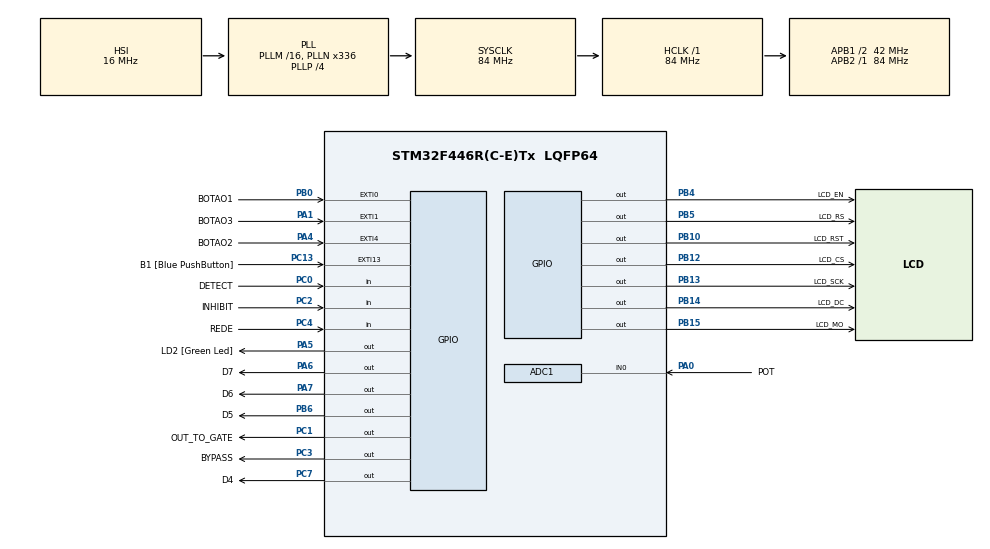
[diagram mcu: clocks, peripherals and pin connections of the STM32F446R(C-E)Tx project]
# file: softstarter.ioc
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ADC1.Channel-0\#ChannelRegularConversion=ADC_CHANNEL_0
ADC1.NbrOfConversionFlag=1
ADC1.Rank-0\#ChannelRegularConversion=1
ADC1.SamplingTime-0\#ChannelRegularConversion=ADC_SAMPLETIME_3CYCLES
ADC1.master=1
Mcu.Family=STM32F4
Mcu.Name=STM32F446R(C-E)Tx
Mcu.Package=LQFP64
NVIC.ADC_IRQn=true\:1\:0\:true\:false\:true\:true\:true
NVIC.EXTI0_IRQn=true\:1\:0\:true\:false\:true\:true\:true
NVIC.EXTI1_IRQn=true\:1\:0\:true\:false\:true\:true\:true
NVIC.EXTI4_IRQn=true\:1\:0\:true\:false\:true\:true\:true
NVIC.PriorityGroup=NVIC_PRIORITYGROUP_2
NVIC.TIM2_IRQn=true\:1\:0\:true\:false\:true\:true\:true
NVIC.TIM3_IRQn=true\:2\:0\:true\:false\:true\:true\:true
PA0-WKUP.GPIO_Label=POT
PA0-WKUP.Signal=ADCx_IN0
PA1.GPIO_Label=BOTAO3
PA1.GPIO_PuPd=GPIO_PULLDOWN
PA1.Signal=GPXTI1
PA13.GPIO_Label=TMS
PA13.Signal=SYS_JTMS-SWDIO
PA14.GPIO_Label=TCK
PA14.Signal=SYS_JTCK-SWCLK
PA2.GPIO_Label=USART_TX
PA2.Signal=USART2_TX
PA3.GPIO_Label=USART_RX
PA3.Signal=USART2_RX
PA4.GPIO_Label=BOTAO2
PA4.GPIO_PuPd=GPIO_PULLDOWN
PA4.Signal=GPXTI4
PA5.GPIO_Label=LD2 [Green Led]
PA5.Signal=GPIO_Output
PA6.GPIO_Label=D7
PA6.Signal=GPIO_Output
PA7.GPIO_Label=D6
PA7.Signal=GPIO_Output
PB0.GPIO_Label=BOTAO1
PB0.GPIO_PuPd=GPIO_PULLDOWN
PB0.Signal=GPXTI0
PB10.GPIO_Label=LCD_RST
PB10.Signal=GPIO_Output
PB12.GPIO_Label=LCD_CS
PB12.Signal=GPIO_Output
PB13.GPIO_Label=LCD_SCK
PB13.Signal=GPIO_Output
PB14.GPIO_Label=LCD_DC
PB14.Signal=GPIO_Output
PB15.GPIO_Label=LCD_MO
PB15.Signal=GPIO_Output
PB3.GPIO_Label=SWO
PB3.Signal=SYS_JTDO-SWO
PB4.GPIO_Label=LCD_EN
PB4.Signal=GPIO_Output
PB5.GPIO_Label=LCD_RS
PB5.Signal=GPIO_Output
PB6.GPIO_Label=D5
PB6.Signal=GPIO_Output
PC0.GPIO_Label=DETECT
PC0.GPIO_PuPd=GPIO_PULLDOWN
PC0.Signal=GPIO_Input
PC1.GPIO_Label=OUT_TO_GATE
PC1.GPIO_PuPd=GPIO_PULLDOWN
PC1.Signal=GPIO_Output
PC13.GPIO_Label=B1 [Blue PushButton]
PC13.GPIO_ModeDefaultEXTI=GPIO_MODE_IT_FALLING
PC13.Signal=GPXTI13
PC14-OSC32_IN.Signal=RCC_OSC32_IN
PC15-OSC32_OUT.Signal=RCC_OSC32_OUT
PC2.GPIO_Label=INHIBIT
PC2.GPIO_PuPd=GPIO_NOPULL
PC2.Signal=GPIO_Input
PC3.GPIO_Label=BYPASS
PC3.Signal=GPIO_Output
PC4.GPIO_Label=REDE
PC4.GPIO_PuPd=GPIO_PULLUP
PC4.Signal=GPIO_Input
PC7.GPIO_Label=D4
PC7.Signal=GPIO_Output
PH0-OSC_IN.Signal=RCC_OSC_IN
PH1-OSC_OUT.Signal=RCC_OSC_OUT
ProjectManager.HeapSize=0x200
ProjectManager.StackSize=0x400
ProjectManager.TargetToolchain=STM32CubeIDE
RCC.AHBFreq_Value=84000000
RCC.APB1CLKDivider=RCC_HCLK_DIV2
RCC.APB1Freq_Value=42000000
RCC.APB1TimFreq_Value=84000000
RCC.APB2Freq_Value=84000000
RCC.APB2TimFreq_Value=84000000
RCC.CortexFreq_Value=84000000
RCC.FLatency-AdvancedSettings=FLASH_LATENCY_2
RCC.HCLKFreq_Value=84000000
RCC.HSE_VALUE=8000000
RCC.HSI_VALUE=16000000
RCC.LSE_VALUE=32768
RCC.PLLN=336
RCC.PLLP=RCC_PLLP_DIV4
RCC.SYSCLKFreq_VALUE=84000000
RCC.SYSCLKSource=RCC_SYSCLKSOURCE_PLLCLK
RCC.USBFreq_Value=168000000
RCC.VCOOutputFreq_Value=336000000
SH.ADCx_IN0.0=ADC1_IN0,IN0
TIM2.Period=99
TIM2.Prescaler=6
TIM3.Period=999
TIM3.Prescaler=8399
VP_TIM2_VS_ClockSourceINT.Mode=Internal
VP_TIM3_VS_ClockSourceINT.Mode=Internal
board=NUCLEO-F446RE

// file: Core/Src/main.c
/* USER CODE BEGIN Header */
/**
  ******************************************************************************
  * @file           : main.c
  * @brief          : Programa feito para controlar o projeto de Softstarter. Com ele é possível variar
  * 				o tempo de descida e subida de 5 a 50 segundos. O projeto também possui o sistema de
  * 				proteção contra sobrecorrente e queda de luz.
  *
  ******************************************************************************
  */
/* USER CODE END Header */
#include "main.h"

/* USER CODE BEGIN Includes */
#include "lcd.h"
/* USER CODE END Includes */

ADC_HandleTypeDef hadc1;

TIM_HandleTypeDef htim2;
TIM_HandleTypeDef htim3;

/* USER CODE BEGIN PV */
 uint16_t conta=0, grau=1000, estado=0, Tace=10, Tdes=10, flag10=0, queda=0, quedaTemp=0, SELECT=0;
 uint16_t analog_value=0, variacao=0, c, contaCurto;
 _Bool REPIK=0, ACELERANDO=0, DESACELERANDO=0, VMAX=0, DESLIGADO=1, PINO=0, FLAG=1, QUEDA=1, INI=0, INItemp=0, REDES=0;

/* USER CODE END PV */

void SystemClock_Config(void);
static void MX_GPIO_Init(void);
static void MX_TIM3_Init(void);
static void MX_TIM2_Init(void);
static void MX_ADC1_Init(void);

int main(void)
{

  /* MCU Configuration--------------------------------------------------------*/

  /* Reset of all peripherals, Initializes the Flash interface and the Systick. */
  HAL_Init();

  /* Configure the system clock */
  SystemClock_Config();

  /* Initialize all configured peripherals */
  MX_GPIO_Init();
  MX_TIM3_Init();
  MX_TIM2_Init();
  MX_ADC1_Init();
  /* USER CODE BEGIN 2 */
  lcd_init();	// Inicia o LCD
  lcd_clear();	// Limpa o que está escrito
  /* USER CODE END 2 */

  /* Infinite loop */
  /* USER CODE BEGIN WHILE */
  while (1)
  {
	  INI = HAL_GPIO_ReadPin(INHIBIT_GPIO_Port, INHIBIT_Pin); //	Lê o pino de sobrecorrente
	  if(INI && VMAX){	// Se o motor já estiver em velocidade nominal e o circuito de sobrecorrente aciona
			HAL_GPIO_WritePin(BYPASS_GPIO_Port, BYPASS_Pin, 0); //	Desliga o bypass e reseta os parâmetros
			grau=1000;
			conta=0;
			ACELERANDO=0;
			DESACELERANDO=0;
			VMAX=0;
			DESLIGADO=1;
			FLAG=1;
		}

	  REDES = HAL_GPIO_ReadPin(REDE_GPIO_Port, REDE_Pin);	//	Lê o pino do circuito pra queda de energia
	 if(!REDES && VMAX){	// Se o motor já estiver em velocidade nominal e o circuito de queda desligar
		HAL_GPIO_WritePin(BYPASS_GPIO_Port, BYPASS_Pin, 0); //	Desliga o bypass e reseta os parâmetros
		grau=1000;
		conta=0;
		ACELERANDO=0;
		DESACELERANDO=0;
		VMAX=0;
		DESLIGADO=1;
		FLAG=1;
	 }

	  PINO = HAL_GPIO_ReadPin(DETECT_GPIO_Port, DETECT_Pin); // Lê o pino do circuito do detector de zero
	  if(PINO){	//	IF para sincronizar os timers com a frequência da rede
		  HAL_TIM_Base_Start_IT(&htim2);
		  HAL_TIM_Base_Start_IT(&htim3);
	  }
	  if(REPIK==1 && FLAG==1){	//	IF para tirar o REPIK das entradas
		  HAL_Delay(100);
		  while((HAL_GPIO_ReadPin(BOTAO1_GPIO_Port, BOTAO1_Pin) == 0)&&(HAL_GPIO_ReadPin(BOTAO2_GPIO_Port, BOTAO2_Pin) == 0)&&(HAL_GPIO_ReadPin(BOTAO3_GPIO_Port, BOTAO3_Pin)==0)&&(HAL_GPIO_ReadPin(INHIBIT_GPIO_Port, INHIBIT_Pin)==0)&&(HAL_GPIO_ReadPin(REDE_GPIO_Port, REDE_Pin) == 0)){}
		  HAL_Delay(100);
		  REPIK=0;
	  }
    /* USER CODE END WHILE */

  }
}

void SystemClock_Config(void)
{
  RCC_OscInitTypeDef RCC_OscInitStruct = {0};
  RCC_ClkInitTypeDef RCC_ClkInitStruct = {0};

  /** Configure the main internal regulator output voltage
  */
  __HAL_RCC_PWR_CLK_ENABLE();
  __HAL_PWR_VOLTAGESCALING_CONFIG(PWR_REGULATOR_VOLTAGE_SCALE3);
  /** Initializes the RCC Oscillators according to the specified parameters
  * in the RCC_OscInitTypeDef structure.
  */
  RCC_OscInitStruct.OscillatorType = RCC_OSCILLATORTYPE_HSI;
  RCC_OscInitStruct.HSIState = RCC_HSI_ON;
  RCC_OscInitStruct.HSICalibrationValue = RCC_HSICALIBRATION_DEFAULT;
  RCC_OscInitStruct.PLL.PLLState = RCC_PLL_ON;
  RCC_OscInitStruct.PLL.PLLSource = RCC_PLLSOURCE_HSI;
  RCC_OscInitStruct.PLL.PLLM = 16;
  RCC_OscInitStruct.PLL.PLLN = 336;
  RCC_OscInitStruct.PLL.PLLP = RCC_PLLP_DIV4;
  RCC_OscInitStruct.PLL.PLLQ = 2;
  RCC_OscInitStruct.PLL.PLLR = 2;
  if (HAL_RCC_OscConfig(&RCC_OscInitStruct) != HAL_OK)
  {
    Error_Handler();
  }
  /** Initializes the CPU, AHB and APB buses clocks
  */
  RCC_ClkInitStruct.ClockType = RCC_CLOCKTYPE_HCLK|RCC_CLOCKTYPE_SYSCLK
                              |RCC_CLOCKTYPE_PCLK1|RCC_CLOCKTYPE_PCLK2;
  RCC_ClkInitStruct.SYSCLKSource = RCC_SYSCLKSOURCE_PLLCLK;
  RCC_ClkInitStruct.AHBCLKDivider = RCC_SYSCLK_DIV1;
  RCC_ClkInitStruct.APB1CLKDivider = RCC_HCLK_DIV2;
  RCC_ClkInitStruct.APB2CLKDivider = RCC_HCLK_DIV1;

  if (HAL_RCC_ClockConfig(&RCC_ClkInitStruct, FLASH_LATENCY_2) != HAL_OK)
  {
    Error_Handler();
  }
}

static void MX_ADC1_Init(void)
{

  ADC_ChannelConfTypeDef sConfig = {0};

  /** Configure the global features of the ADC (Clock, Resolution, Data Alignment and number of conversion)
  */
  hadc1.Instance = ADC1;
  hadc1.Init.ClockPrescaler = ADC_CLOCK_SYNC_PCLK_DIV4;
  hadc1.Init.Resolution = ADC_RESOLUTION_12B;
  hadc1.Init.ScanConvMode = DISABLE;
  hadc1.Init.ContinuousConvMode = DISABLE;
  hadc1.Init.DiscontinuousConvMode = DISABLE;
  hadc1.Init.ExternalTrigConvEdge = ADC_EXTERNALTRIGCONVEDGE_NONE;
  hadc1.Init.ExternalTrigConv = ADC_SOFTWARE_START;
  hadc1.Init.DataAlign = ADC_DATAALIGN_RIGHT;
  hadc1.Init.NbrOfConversion = 1;
  hadc1.Init.DMAContinuousRequests = DISABLE;
  hadc1.Init.EOCSelection = ADC_EOC_SINGLE_CONV;
  if (HAL_ADC_Init(&hadc1) != HAL_OK)
  {
    Error_Handler();
  }
  /** Configure for the selected ADC regular channel its corresponding rank in the sequencer and its sample time.
  */
  sConfig.Channel = ADC_CHANNEL_0;
  sConfig.Rank = 1;
  sConfig.SamplingTime = ADC_SAMPLETIME_3CYCLES;
  if (HAL_ADC_ConfigChannel(&hadc1, &sConfig) != HAL_OK)
  {
    Error_Handler();
  }

}

static void MX_TIM2_Init(void)
{

  TIM_ClockConfigTypeDef sClockSourceConfig = {0};
  TIM_MasterConfigTypeDef sMasterConfig = {0};

  htim2.Instance = TIM2;
  htim2.Init.Prescaler = 6;
  htim2.Init.CounterMode = TIM_COUNTERMODE_UP;
  htim2.Init.Period = 99;
  htim2.Init.ClockDivision = TIM_CLOCKDIVISION_DIV1;
  htim2.Init.AutoReloadPreload = TIM_AUTORELOAD_PRELOAD_DISABLE;
  if (HAL_TIM_Base_Init(&htim2) != HAL_OK)
  {
    Error_Handler();
  }
  sClockSourceConfig.ClockSource = TIM_CLOCKSOURCE_INTERNAL;
  if (HAL_TIM_ConfigClockSource(&htim2, &sClockSourceConfig) != HAL_OK)
  {
    Error_Handler();
  }
  sMasterConfig.MasterOutputTrigger = TIM_TRGO_RESET;
  sMasterConfig.MasterSlaveMode = TIM_MASTERSLAVEMODE_DISABLE;
  if (HAL_TIMEx_MasterConfigSynchronization(&htim2, &sMasterConfig) != HAL_OK)
  {
    Error_Handler();
  }

}

static void MX_TIM3_Init(void)
{

  TIM_ClockConfigTypeDef sClockSourceConfig = {0};
  TIM_MasterConfigTypeDef sMasterConfig = {0};

  htim3.Instance = TIM3;
  htim3.Init.Prescaler = 8399;
  htim3.Init.CounterMode = TIM_COUNTERMODE_UP;
  htim3.Init.Period = 999;
  htim3.Init.ClockDivision = TIM_CLOCKDIVISION_DIV1;
  htim3.Init.AutoReloadPreload = TIM_AUTORELOAD_PRELOAD_DISABLE;
  if (HAL_TIM_Base_Init(&htim3) != HAL_OK)
  {
    Error_Handler();
  }
  sClockSourceConfig.ClockSource = TIM_CLOCKSOURCE_INTERNAL;
  if (HAL_TIM_ConfigClockSource(&htim3, &sClockSourceConfig) != HAL_OK)
  {
    Error_Handler();
  }
  sMasterConfig.MasterOutputTrigger = TIM_TRGO_RESET;
  sMasterConfig.MasterSlaveMode = TIM_MASTERSLAVEMODE_DISABLE;
  if (HAL_TIMEx_MasterConfigSynchronization(&htim3, &sMasterConfig) != HAL_OK)
  {
    Error_Handler();
  }

}

static void MX_GPIO_Init(void)
{
  GPIO_InitTypeDef GPIO_InitStruct = {0};

  /* GPIO Ports Clock Enable */
  __HAL_RCC_GPIOC_CLK_ENABLE();
  __HAL_RCC_GPIOH_CLK_ENABLE();
  __HAL_RCC_GPIOA_CLK_ENABLE();
  __HAL_RCC_GPIOB_CLK_ENABLE();

  /*Configure GPIO pin Output Level */
  HAL_GPIO_WritePin(GPIOC, OUT_TO_GATE_Pin|BYPASS_Pin|D4_Pin, GPIO_PIN_RESET);

  /*Configure GPIO pin Output Level */
  HAL_GPIO_WritePin(GPIOA, LD2_Pin|D7_Pin|D6_Pin, GPIO_PIN_RESET);

  /*Configure GPIO pin Output Level */
  HAL_GPIO_WritePin(GPIOB, LCD_RST_Pin|LCD_CS_Pin|LCD_SCK_Pin|LCD_DC_Pin
                          |LCD_MO_Pin|LCD_EN_Pin|LCD_RS_Pin|D5_Pin, GPIO_PIN_RESET);

  /*Configure GPIO pin : B1_Pin */
  GPIO_InitStruct.Pin = B1_Pin;
  GPIO_InitStruct.Mode = GPIO_MODE_IT_FALLING;
  GPIO_InitStruct.Pull = GPIO_NOPULL;
  HAL_GPIO_Init(B1_GPIO_Port, &GPIO_InitStruct);

  /*Configure GPIO pin : DETECT_Pin */
  GPIO_InitStruct.Pin = DETECT_Pin;
  GPIO_InitStruct.Mode = GPIO_MODE_INPUT;
  GPIO_InitStruct.Pull = GPIO_PULLDOWN;
  HAL_GPIO_Init(DETECT_GPIO_Port, &GPIO_InitStruct);

  /*Configure GPIO pin : OUT_TO_GATE_Pin */
  GPIO_InitStruct.Pin = OUT_TO_GATE_Pin;
  GPIO_InitStruct.Mode = GPIO_MODE_OUTPUT_PP;
  GPIO_InitStruct.Pull = GPIO_PULLDOWN;
  GPIO_InitStruct.Speed = GPIO_SPEED_FREQ_LOW;
  HAL_GPIO_Init(OUT_TO_GATE_GPIO_Port, &GPIO_InitStruct);

  /*Configure GPIO pin : INHIBIT_Pin */
  GPIO_InitStruct.Pin = INHIBIT_Pin;
  GPIO_InitStruct.Mode = GPIO_MODE_INPUT;
  GPIO_InitStruct.Pull = GPIO_NOPULL;
  HAL_GPIO_Init(INHIBIT_GPIO_Port, &GPIO_InitStruct);

  /*Configure GPIO pins : BYPASS_Pin D4_Pin */
  GPIO_InitStruct.Pin = BYPASS_Pin|D4_Pin;
  GPIO_InitStruct.Mode = GPIO_MODE_OUTPUT_PP;
  GPIO_InitStruct.Pull = GPIO_NOPULL;
  GPIO_InitStruct.Speed = GPIO_SPEED_FREQ_LOW;
  HAL_GPIO_Init(GPIOC, &GPIO_InitStruct);

  /*Configure GPIO pins : BOTAO3_Pin BOTAO2_Pin */
  GPIO_InitStruct.Pin = BOTAO3_Pin|BOTAO2_Pin;
  GPIO_InitStruct.Mode = GPIO_MODE_IT_RISING;
  GPIO_InitStruct.Pull = GPIO_PULLDOWN;
  HAL_GPIO_Init(GPIOA, &GPIO_InitStruct);

  /*Configure GPIO pins : USART_TX_Pin USART_RX_Pin */
  GPIO_InitStruct.Pin = USART_TX_Pin|USART_RX_Pin;
  GPIO_InitStruct.Mode = GPIO_MODE_AF_PP;
  GPIO_InitStruct.Pull = GPIO_NOPULL;
  GPIO_InitStruct.Speed = GPIO_SPEED_FREQ_VERY_HIGH;
  GPIO_InitStruct.Alternate = GPIO_AF7_USART2;
  HAL_GPIO_Init(GPIOA, &GPIO_InitStruct);

  /*Configure GPIO pins : LD2_Pin D7_Pin D6_Pin */
  GPIO_InitStruct.Pin = LD2_Pin|D7_Pin|D6_Pin;
  GPIO_InitStruct.Mode = GPIO_MODE_OUTPUT_PP;
  GPIO_InitStruct.Pull = GPIO_NOPULL;
  GPIO_InitStruct.Speed = GPIO_SPEED_FREQ_LOW;
  HAL_GPIO_Init(GPIOA, &GPIO_InitStruct);

  /*Configure GPIO pin : REDE_Pin */
  GPIO_InitStruct.Pin = REDE_Pin;
  GPIO_InitStruct.Mode = GPIO_MODE_INPUT;
  GPIO_InitStruct.Pull = GPIO_PULLUP;
  HAL_GPIO_Init(REDE_GPIO_Port, &GPIO_InitStruct);

  /*Configure GPIO pin : BOTAO1_Pin */
  GPIO_InitStruct.Pin = BOTAO1_Pin;
  GPIO_InitStruct.Mode = GPIO_MODE_IT_RISING;
  GPIO_InitStruct.Pull = GPIO_PULLDOWN;
  HAL_GPIO_Init(BOTAO1_GPIO_Port, &GPIO_InitStruct);

  /*Configure GPIO pins : LCD_RST_Pin LCD_CS_Pin LCD_SCK_Pin LCD_DC_Pin
                           LCD_MO_Pin LCD_EN_Pin LCD_RS_Pin D5_Pin */
  GPIO_InitStruct.Pin = LCD_RST_Pin|LCD_CS_Pin|LCD_SCK_Pin|LCD_DC_Pin
                          |LCD_MO_Pin|LCD_EN_Pin|LCD_RS_Pin|D5_Pin;
  GPIO_InitStruct.Mode = GPIO_MODE_OUTPUT_PP;
  GPIO_InitStruct.Pull = GPIO_NOPULL;
  GPIO_InitStruct.Speed = GPIO_SPEED_FREQ_LOW;
  HAL_GPIO_Init(GPIOB, &GPIO_InitStruct);

  /* EXTI interrupt init*/
  HAL_NVIC_SetPriority(EXTI0_IRQn, 1, 0);
  HAL_NVIC_EnableIRQ(EXTI0_IRQn);

  HAL_NVIC_SetPriority(EXTI1_IRQn, 1, 0);
  HAL_NVIC_EnableIRQ(EXTI1_IRQn);

  HAL_NVIC_SetPriority(EXTI4_IRQn, 1, 0);
  HAL_NVIC_EnableIRQ(EXTI4_IRQn);

}

/* USER CODE BEGIN 4 */

void HAL_GPIO_EXTI_Callback(uint16_t GPIO_Pin) 	// Interrupções externas
{
	if(REPIK == 0 && QUEDA){
		if(GPIO_Pin == BOTAO2_Pin && !ACELERANDO && !DESACELERANDO){	// Determina qual parâmetro será alterado (Tempo de aceleração ou desaceleração)
			if (SELECT == 0) {
				SELECT = 1;
			} else if (SELECT == 1){
				SELECT = 2;
			} else if (SELECT == 2){
				SELECT = 0;
			}
		}
		if(GPIO_Pin == BOTAO3_Pin && !ACELERANDO && !DESACELERANDO){	// Começa a acelerar depois de apertar o botão
			DESLIGADO=0;
			ACELERANDO=1; // ACELERA
			FLAG=0;
		}
		if(GPIO_Pin == BOTAO1_Pin && !ACELERANDO && !DESACELERANDO){	// Desacelera depois de apertar o botão
			HAL_GPIO_WritePin(BYPASS_GPIO_Port, BYPASS_Pin, 0);
			VMAX = 0;
			DESACELERANDO=1; // DESACELERA
			FLAG=0;
		}
		REPIK=1;
	}
}

void HAL_TIM_PeriodElapsedCallback(TIM_HandleTypeDef *htim){
	if(htim ->Instance==TIM3){ // timer de 100ms
		lcd_clear();
		HAL_ADC_Start(&hadc1); // Inicia a leitura do pino
		if(HAL_ADC_PollForConversion(&hadc1,10)==HAL_OK){
			// Coloca o valor já digital dentro da váriavel
			analog_value=HAL_ADC_GetValue(&hadc1);
		}
		HAL_ADC_Stop(&hadc1); // Para de ler o pino
		variacao = analog_value * (0.011601563); // (45 variacoes/3878,79) fazendo com que seja possível variar de 5 a 50 segundos
		if(SELECT==0 && !ACELERANDO && !DESACELERANDO && !VMAX){
			Tace = variacao+5;
			lcd_goto(0xC0);
			lcd_puts(">");
		} else if (SELECT==1 && !ACELERANDO && !DESACELERANDO && !VMAX) {
			Tdes = variacao+5;
			lcd_goto(0xC8);
			lcd_puts(">");
		}

		lcd_goto(0xC1);
		lcd_puts("Ts:");
		lcd_printd(Tace);
		lcd_puts("s");
		lcd_goto(0xC9);
		lcd_puts("Td:");
		lcd_printd(Tdes);
		lcd_puts("s");

		if(grau<(1000/(Tace*10)) && ACELERANDO){
			grau=0;
			ACELERANDO=0;
			VMAX=1;
			FLAG=1;
			HAL_GPIO_WritePin(BYPASS_GPIO_Port, BYPASS_Pin, 1);
		}
		if(ACELERANDO){
			grau = grau - (1000 / (Tace*10));
		}
		if(grau>(1000-(1000/(Tdes*10))) && DESACELERANDO){
			grau = 1000;
			DESACELERANDO = 0;
			DESLIGADO = 1;
			FLAG=1;
		}
		if(DESACELERANDO){
			grau = grau + (1000 / (Tdes*10));
		}
		if(ACELERANDO){
			lcd_goto(0x83);
			lcd_puts("ACELERANDO");
		}
		if(DESACELERANDO){
			lcd_goto(0x81);
			lcd_puts("DESACELERANDO");
		}
		if(VMAX){
			lcd_goto(0x83);
			lcd_puts("VEL. MAX");
		}
		if(DESLIGADO){
			lcd_goto(0x83);
			lcd_puts("DESLIGADO");
		}

	}
	if(htim ->Instance==TIM2){ // ((1/60Hz)/2)/1000 partes = timer de 8,333us
		 REDES = HAL_GPIO_ReadPin(REDE_GPIO_Port, REDE_Pin);

		 if(!REDES){
			HAL_GPIO_WritePin(BYPASS_GPIO_Port, BYPASS_Pin, 0);
			grau=1000;
			conta=0;
			ACELERANDO=0;
			DESACELERANDO=0;
			VMAX=0;
			DESLIGADO=1;
			FLAG=1;
		 }
		conta++;
		if(conta==1000){ // Desliga os timers para poder sincronizar com o detector de zero
			conta=0;
			HAL_TIM_Base_Stop_IT(&htim2);
			HAL_TIM_Base_Stop_IT(&htim3);
		}
		if(conta >= grau){ // Gera os pulsos de acordo com o grau de inicio, formando o PWM
			HAL_GPIO_WritePin(OUT_TO_GATE_GPIO_Port, OUT_TO_GATE_Pin, 1);
		}else{
			HAL_GPIO_WritePin(OUT_TO_GATE_GPIO_Port, OUT_TO_GATE_Pin, 0);
		}

	}
}

/* USER CODE END 4 */

void Error_Handler(void)
{
  __disable_irq();
  while (1)
  {
  }
}

/************************ (C) COPYRIGHT STMicroelectronics *****END OF FILE****/
